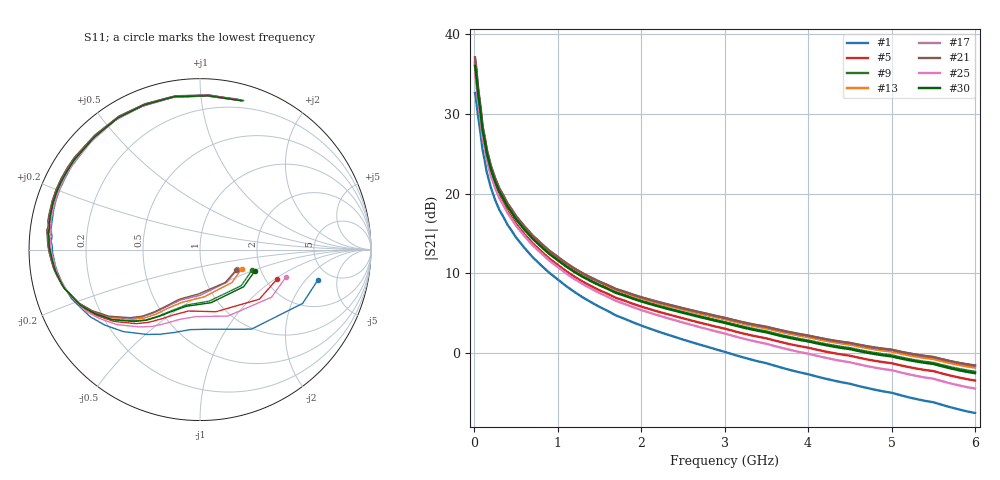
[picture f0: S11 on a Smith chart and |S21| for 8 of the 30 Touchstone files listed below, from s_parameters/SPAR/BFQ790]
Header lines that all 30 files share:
! Infineon Technologies  Discrete & RF Semiconductors
! BFQ790
! Common Emitter S-Parameters:  May 2015
# GHz  S  MA  R  50
!  f  S11  S21  S12  S22
! GHz  MAG  ANG  MAG  ANG  MAG  ANG  MAG  ANG
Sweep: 10 MHz to 6 GHz
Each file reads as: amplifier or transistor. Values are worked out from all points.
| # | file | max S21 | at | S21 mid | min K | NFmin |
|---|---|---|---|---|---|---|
| 1 | BFQ790_w_noise_VCE_4.0V_IC_20mA.s2p | 32.6 dB | 10 MHz | 2.7 dB at 2.2 GHz | 0.23 | 2.10 dB |
| 2 | BFQ790_w_noise_VCE_4.0V_IC_30mA.s2p | 34.5 dB | 10 MHz | 3.9 dB at 2.2 GHz | 0.24 | 2.11 dB |
| 3 | BFQ790_w_noise_VCE_4.0V_IC_40mA.s2p | 35.5 dB | 10 MHz | 4.5 dB at 2.2 GHz | 0.29 | 2.18 dB |
| 4 | BFQ790_w_noise_VCE_4.0V_IC_50mA.s2p | 36.2 dB | 10 MHz | 4.9 dB at 2.2 GHz | 0.32 | 2.29 dB |
| 5 | BFQ790_w_noise_VCE_4.0V_IC_60mA.s2p | 36.6 dB | 10 MHz | 5.2 dB at 2.2 GHz | 0.37 | 2.33 dB |
| 6 | BFQ790_w_noise_VCE_4.0V_IC_70mA.s2p | 36.9 dB | 10 MHz | 5.4 dB at 2.2 GHz | 0.39 | 2.39 dB |
| 7 | BFQ790_w_noise_VCE_4.0V_IC_80mA.s2p | 37.1 dB | 10 MHz | 5.5 dB at 2.2 GHz | 0.36 | 2.44 dB |
| 8 | BFQ790_w_noise_VCE_4.0V_IC_90mA.s2p | 37.3 dB | 10 MHz | 5.6 dB at 2.2 GHz | 0.40 | 2.52 dB |
| 9 | BFQ790_w_noise_VCE_5.0V_IC_0.10A.s2p | 36.1 dB | 10 MHz | 5.9 dB at 2.2 GHz | 0.67 | 2.59 dB |
| 10 | BFQ790_w_noise_VCE_5.0V_IC_0.11A.s2p | 36.2 dB | 10 MHz | 6.0 dB at 2.2 GHz | 0.66 | 2.66 dB |
| 11 | BFQ790_w_noise_VCE_5.0V_IC_0.12A.s2p | 36.2 dB | 10 MHz | 6.1 dB at 2.2 GHz | 0.70 | 2.73 dB |
| 12 | BFQ790_w_noise_VCE_5.0V_IC_0.14A.s2p | 36.3 dB | 10 MHz | 6.2 dB at 2.2 GHz | 0.71 | 2.89 dB |
| 13 | BFQ790_w_noise_VCE_5.0V_IC_0.16A.s2p | 36.4 dB | 10 MHz | 6.2 dB at 2.2 GHz | 0.71 | 3.03 dB |
| 14 | BFQ790_w_noise_VCE_5.0V_IC_0.18A.s2p | 36.5 dB | 10 MHz | 6.3 dB at 2.2 GHz | 0.68 | 3.17 dB |
| 15 | BFQ790_w_noise_VCE_5.0V_IC_0.20A.s2p | 36.6 dB | 10 MHz | 6.3 dB at 2.2 GHz | 0.70 | 3.33 dB |
| 16 | BFQ790_w_noise_VCE_5.0V_IC_0.22A.s2p | 36.7 dB | 10 MHz | 6.3 dB at 2.2 GHz | 0.65 | 3.50 dB |
| 17 | BFQ790_w_noise_VCE_5.0V_IC_0.24A.s2p | 36.9 dB | 10 MHz | 6.4 dB at 2.2 GHz | 0.64 | 3.64 dB |
| 18 | BFQ790_w_noise_VCE_5.0V_IC_0.25A.s2p | 36.9 dB | 10 MHz | 6.4 dB at 2.2 GHz | 0.60 | 3.72 dB |
| 19 | BFQ790_w_noise_VCE_5.0V_IC_0.26A.s2p | 37.0 dB | 10 MHz | 6.4 dB at 2.2 GHz | 0.63 | 3.78 dB |
| 20 | BFQ790_w_noise_VCE_5.0V_IC_0.28A.s2p | 37.1 dB | 10 MHz | 6.4 dB at 2.2 GHz | 0.59 | 3.93 dB |
| 21 | BFQ790_w_noise_VCE_5.0V_IC_0.30A.s2p | 37.1 dB | 10 MHz | 6.4 dB at 2.2 GHz | 0.57 | 4.10 dB |
| 22 | BFQ790_w_noise_VCE_5.0V_IC_10mA.s2p | 28.5 dB | 10 MHz | -0.1 dB at 2.2 GHz | 0.22 | 2.10 dB |
| 23 | BFQ790_w_noise_VCE_5.0V_IC_20mA.s2p | 32.5 dB | 10 MHz | 2.8 dB at 2.2 GHz | 0.29 | 2.10 dB |
| 24 | BFQ790_w_noise_VCE_5.0V_IC_30mA.s2p | 34.2 dB | 10 MHz | 4.0 dB at 2.2 GHz | 0.45 | 2.11 dB |
| 25 | BFQ790_w_noise_VCE_5.0V_IC_40mA.s2p | 35.0 dB | 10 MHz | 4.7 dB at 2.2 GHz | 0.49 | 2.18 dB |
| 26 | BFQ790_w_noise_VCE_5.0V_IC_50mA.s2p | 35.4 dB | 10 MHz | 5.1 dB at 2.2 GHz | 0.52 | 2.29 dB |
| 27 | BFQ790_w_noise_VCE_5.0V_IC_60mA.s2p | 35.7 dB | 10 MHz | 5.4 dB at 2.2 GHz | 0.56 | 2.33 dB |
| 28 | BFQ790_w_noise_VCE_5.0V_IC_70mA.s2p | 35.9 dB | 10 MHz | 5.6 dB at 2.2 GHz | 0.60 | 2.39 dB |
| 29 | BFQ790_w_noise_VCE_5.0V_IC_80mA.s2p | 36.0 dB | 10 MHz | 5.7 dB at 2.2 GHz | 0.61 | 2.44 dB |
| 30 | BFQ790_w_noise_VCE_5.0V_IC_90mA.s2p | 36.0 dB | 10 MHz | 5.8 dB at 2.2 GHz | 0.64 | 2.52 dB |

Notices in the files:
internship_Nexedi/test_ampli_simple/transistor/BFQ790/s_parameters/SPAR/BFQ790/BFQ790_w_noise_VCE_4.0V_IC_20mA.s2p:
(c) 2015  Infineon Technologies AG, Munich
